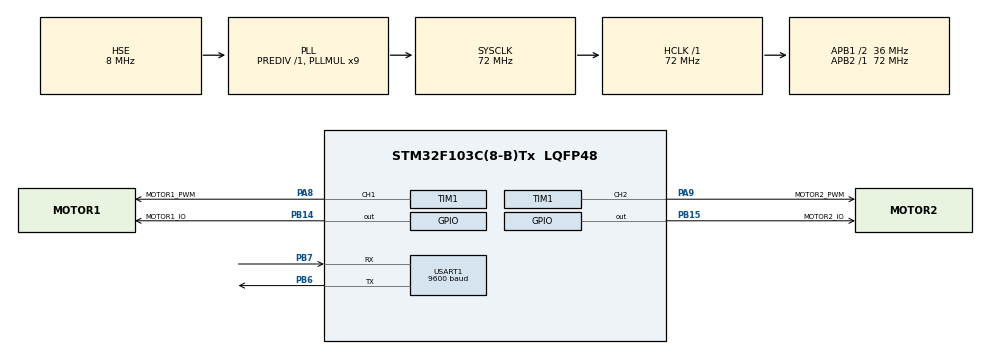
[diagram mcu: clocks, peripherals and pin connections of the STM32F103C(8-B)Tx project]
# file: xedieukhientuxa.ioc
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Mcu.Family=STM32F1
Mcu.Name=STM32F103C(8-B)Tx
Mcu.Package=LQFP48
NVIC.PriorityGroup=NVIC_PRIORITYGROUP_4
NVIC.USART1_IRQn=true\:1\:0\:true\:false\:true\:true\:true\:true
PA13.Mode=Serial_Wire
PA13.Signal=SYS_JTMS-SWDIO
PA14.Mode=Serial_Wire
PA14.Signal=SYS_JTCK-SWCLK
PA8.GPIO_Label=MOTOR1_PWM
PA8.Signal=S_TIM1_CH1
PA9.GPIO_Label=MOTOR2_PWM
PA9.Signal=S_TIM1_CH2
PB14.GPIO_Label=MOTOR1_IO
PB14.Signal=GPIO_Output
PB15.GPIO_Label=MOTOR2_IO
PB15.Signal=GPIO_Output
PB6.Mode=Asynchronous
PB6.Signal=USART1_TX
PB7.Mode=Asynchronous
PB7.Signal=USART1_RX
PD0-OSC_IN.Mode=HSE-External-Oscillator
PD0-OSC_IN.Signal=RCC_OSC_IN
PD1-OSC_OUT.Mode=HSE-External-Oscillator
PD1-OSC_OUT.Signal=RCC_OSC_OUT
ProjectManager.HeapSize=0x200
ProjectManager.StackSize=0x400
ProjectManager.TargetToolchain=MDK-ARM V5.32
RCC.AHBFreq_Value=72000000
RCC.APB1CLKDivider=RCC_HCLK_DIV2
RCC.APB1Freq_Value=36000000
RCC.APB1TimFreq_Value=72000000
RCC.APB2Freq_Value=72000000
RCC.APB2TimFreq_Value=72000000
RCC.HCLKFreq_Value=72000000
RCC.PLLMUL=RCC_PLL_MUL9
RCC.PLLSourceVirtual=RCC_PLLSOURCE_HSE
RCC.SYSCLKFreq_VALUE=72000000
RCC.SYSCLKSource=RCC_SYSCLKSOURCE_PLLCLK
RCC.USBFreq_Value=72000000
SH.S_TIM1_CH1.0=TIM1_CH1,PWM Generation1 CH1
SH.S_TIM1_CH2.0=TIM1_CH2,PWM Generation2 CH2
TIM1.Channel-PWM\ Generation1\ CH1=TIM_CHANNEL_1
TIM1.Channel-PWM\ Generation2\ CH2=TIM_CHANNEL_2
TIM1.Period=999
TIM1.Prescaler=71
USART1.BaudRate=9600
USART1.VirtualMode=VM_ASYNC
VP_TIM1_VS_ClockSourceINT.Mode=Internal
board=custom

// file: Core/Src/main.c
/* USER CODE BEGIN Header */
/**
  ******************************************************************************
  * @file           : main.c
  * @brief          : Main program body
  ******************************************************************************
  * @attention
  *
  * Copyright (c) 2023 STMicroelectronics.
  * All rights reserved.
  *
  * This software is licensed under terms that can be found in the LICENSE file
  * in the root directory of this software component.
  * If no LICENSE file comes with this software, it is provided AS-IS.
  *
  ******************************************************************************
  */
/* USER CODE END Header */
#include "main.h"

/* USER CODE BEGIN Includes */
#include "Motor.h"
#include "Pwm.h"
#include "Car.h"
uint8_t data;
uint8_t flag_commence = 0 ;
uint8_t speed = 0;
/* USER CODE END Includes */

TIM_HandleTypeDef htim1;

UART_HandleTypeDef huart1;

void SystemClock_Config(void);
static void MX_GPIO_Init(void);
static void MX_TIM1_Init(void);
static void MX_USART1_UART_Init(void);

/* USER CODE BEGIN 0 */
void HAL_UART_RxCpltCallback(UART_HandleTypeDef *huart){
	if(huart->Instance == huart1.Instance){
		flag_commence = 1;
		HAL_UART_Receive_IT(&huart1,&data,1);
	}
}
/* USER CODE END 0 */
int main(void)
{

  /* MCU Configuration--------------------------------------------------------*/

  /* Reset of all peripherals, Initializes the Flash interface and the Systick. */
  HAL_Init();

  /* Configure the system clock */
  SystemClock_Config();

  /* Initialize all configured peripherals */
  MX_GPIO_Init();
  MX_TIM1_Init();
  MX_USART1_UART_Init();

  /* USER CODE BEGIN 2 */
	car_init(MOTOR1_IO_GPIO_Port,MOTOR2_IO_GPIO_Port,MOTOR1_IO_Pin,MOTOR2_IO_Pin,&htim1,TIM_CHANNEL_1,TIM_CHANNEL_2);
	HAL_UART_Receive_IT(&huart1,&data,1);

  /* USER CODE END 2 */

  /* Infinite loop */
  while (1)
  {

    /* USER CODE BEGIN 3 */

		if( flag_commence ){

				switch(data){
				case 'S':
					car_motor(CAR_STOP_STATE,speed);
					break;
				case 'F':
					car_motor(CAR_FORWARD_STATE,speed);
					break;
				case 'B':
					car_motor(CAR_BACKWARD_STATE,speed);
					break;
				case 'L':
					car_motor(CAR_LEFT_STATE,speed);
					break;
				case 'R':
					car_motor(CAR_RIGHT_STATE,speed);
					break;
				default:
					if(data>='0' && data <= '9'){
						speed = (data - '0')*10;
					}
					else if( data == 'q' ){
						speed = 100;
					}
					break;
			}
			flag_commence = 0;
		}
		HAL_Delay(10);

  }
  /* USER CODE END 3 */
}

void SystemClock_Config(void)
{
  RCC_OscInitTypeDef RCC_OscInitStruct = {0};
  RCC_ClkInitTypeDef RCC_ClkInitStruct = {0};

  /** Initializes the RCC Oscillators according to the specified parameters
  * in the RCC_OscInitTypeDef structure.
  */
  RCC_OscInitStruct.OscillatorType = RCC_OSCILLATORTYPE_HSE;
  RCC_OscInitStruct.HSEState = RCC_HSE_ON;
  RCC_OscInitStruct.HSEPredivValue = RCC_HSE_PREDIV_DIV1;
  RCC_OscInitStruct.HSIState = RCC_HSI_ON;
  RCC_OscInitStruct.PLL.PLLState = RCC_PLL_ON;
  RCC_OscInitStruct.PLL.PLLSource = RCC_PLLSOURCE_HSE;
  RCC_OscInitStruct.PLL.PLLMUL = RCC_PLL_MUL9;
  if (HAL_RCC_OscConfig(&RCC_OscInitStruct) != HAL_OK)
  {
    Error_Handler();
  }

  /** Initializes the CPU, AHB and APB buses clocks
  */
  RCC_ClkInitStruct.ClockType = RCC_CLOCKTYPE_HCLK|RCC_CLOCKTYPE_SYSCLK
                              |RCC_CLOCKTYPE_PCLK1|RCC_CLOCKTYPE_PCLK2;
  RCC_ClkInitStruct.SYSCLKSource = RCC_SYSCLKSOURCE_PLLCLK;
  RCC_ClkInitStruct.AHBCLKDivider = RCC_SYSCLK_DIV1;
  RCC_ClkInitStruct.APB1CLKDivider = RCC_HCLK_DIV2;
  RCC_ClkInitStruct.APB2CLKDivider = RCC_HCLK_DIV1;

  if (HAL_RCC_ClockConfig(&RCC_ClkInitStruct, FLASH_LATENCY_2) != HAL_OK)
  {
    Error_Handler();
  }
}

static void MX_TIM1_Init(void)
{

  TIM_ClockConfigTypeDef sClockSourceConfig = {0};
  TIM_MasterConfigTypeDef sMasterConfig = {0};
  TIM_OC_InitTypeDef sConfigOC = {0};
  TIM_BreakDeadTimeConfigTypeDef sBreakDeadTimeConfig = {0};

  htim1.Instance = TIM1;
  htim1.Init.Prescaler = 71;
  htim1.Init.CounterMode = TIM_COUNTERMODE_UP;
  htim1.Init.Period = 999;
  htim1.Init.ClockDivision = TIM_CLOCKDIVISION_DIV1;
  htim1.Init.RepetitionCounter = 0;
  htim1.Init.AutoReloadPreload = TIM_AUTORELOAD_PRELOAD_DISABLE;
  if (HAL_TIM_Base_Init(&htim1) != HAL_OK)
  {
    Error_Handler();
  }
  sClockSourceConfig.ClockSource = TIM_CLOCKSOURCE_INTERNAL;
  if (HAL_TIM_ConfigClockSource(&htim1, &sClockSourceConfig) != HAL_OK)
  {
    Error_Handler();
  }
  if (HAL_TIM_PWM_Init(&htim1) != HAL_OK)
  {
    Error_Handler();
  }
  sMasterConfig.MasterOutputTrigger = TIM_TRGO_RESET;
  sMasterConfig.MasterSlaveMode = TIM_MASTERSLAVEMODE_DISABLE;
  if (HAL_TIMEx_MasterConfigSynchronization(&htim1, &sMasterConfig) != HAL_OK)
  {
    Error_Handler();
  }
  sConfigOC.OCMode = TIM_OCMODE_PWM1;
  sConfigOC.Pulse = 0;
  sConfigOC.OCPolarity = TIM_OCPOLARITY_HIGH;
  sConfigOC.OCNPolarity = TIM_OCNPOLARITY_HIGH;
  sConfigOC.OCFastMode = TIM_OCFAST_DISABLE;
  sConfigOC.OCIdleState = TIM_OCIDLESTATE_RESET;
  sConfigOC.OCNIdleState = TIM_OCNIDLESTATE_RESET;
  if (HAL_TIM_PWM_ConfigChannel(&htim1, &sConfigOC, TIM_CHANNEL_1) != HAL_OK)
  {
    Error_Handler();
  }
  if (HAL_TIM_PWM_ConfigChannel(&htim1, &sConfigOC, TIM_CHANNEL_2) != HAL_OK)
  {
    Error_Handler();
  }
  sBreakDeadTimeConfig.OffStateRunMode = TIM_OSSR_DISABLE;
  sBreakDeadTimeConfig.OffStateIDLEMode = TIM_OSSI_DISABLE;
  sBreakDeadTimeConfig.LockLevel = TIM_LOCKLEVEL_OFF;
  sBreakDeadTimeConfig.DeadTime = 0;
  sBreakDeadTimeConfig.BreakState = TIM_BREAK_DISABLE;
  sBreakDeadTimeConfig.BreakPolarity = TIM_BREAKPOLARITY_HIGH;
  sBreakDeadTimeConfig.AutomaticOutput = TIM_AUTOMATICOUTPUT_DISABLE;
  if (HAL_TIMEx_ConfigBreakDeadTime(&htim1, &sBreakDeadTimeConfig) != HAL_OK)
  {
    Error_Handler();
  }
  HAL_TIM_MspPostInit(&htim1);

}

static void MX_USART1_UART_Init(void)
{

  huart1.Instance = USART1;
  huart1.Init.BaudRate = 9600;
  huart1.Init.WordLength = UART_WORDLENGTH_8B;
  huart1.Init.StopBits = UART_STOPBITS_1;
  huart1.Init.Parity = UART_PARITY_NONE;
  huart1.Init.Mode = UART_MODE_TX_RX;
  huart1.Init.HwFlowCtl = UART_HWCONTROL_NONE;
  huart1.Init.OverSampling = UART_OVERSAMPLING_16;
  if (HAL_UART_Init(&huart1) != HAL_OK)
  {
    Error_Handler();
  }

}

static void MX_GPIO_Init(void)
{
  GPIO_InitTypeDef GPIO_InitStruct = {0};

  /* GPIO Ports Clock Enable */
  __HAL_RCC_GPIOD_CLK_ENABLE();
  __HAL_RCC_GPIOB_CLK_ENABLE();
  __HAL_RCC_GPIOA_CLK_ENABLE();

  /*Configure GPIO pin Output Level */
  HAL_GPIO_WritePin(GPIOB, MOTOR1_IO_Pin|MOTOR2_IO_Pin, GPIO_PIN_RESET);

  /*Configure GPIO pins : MOTOR1_IO_Pin MOTOR2_IO_Pin */
  GPIO_InitStruct.Pin = MOTOR1_IO_Pin|MOTOR2_IO_Pin;
  GPIO_InitStruct.Mode = GPIO_MODE_OUTPUT_PP;
  GPIO_InitStruct.Pull = GPIO_NOPULL;
  GPIO_InitStruct.Speed = GPIO_SPEED_FREQ_LOW;
  HAL_GPIO_Init(GPIOB, &GPIO_InitStruct);

}

void Error_Handler(void)
{
  __disable_irq();
  while (1)
  {
  }
}
